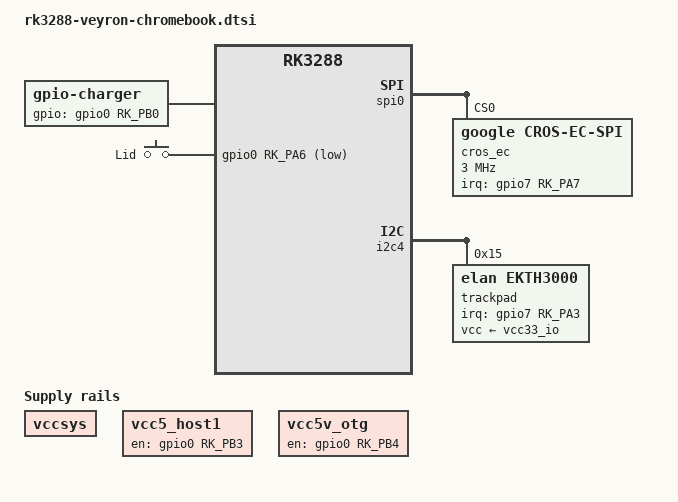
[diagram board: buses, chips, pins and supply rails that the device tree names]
// SPDX-License-Identifier: (GPL-2.0+ OR MIT)
/*
 * Google Veyron (and derivatives) board device tree source
 * Chromebook specific parts
 *
 * Copyright 2015 Google, Inc
 */

#include <dt-bindings/clock/rockchip,rk808.h>
#include <dt-bindings/input/input.h>
#include "rk3288-veyron.dtsi"
#include "rk3288-veyron-analog-audio.dtsi"
#include "rk3288-veyron-edp.dtsi"
#include "rk3288-veyron-sdmmc.dtsi"

/ {
	aliases {
		/* Assign 20 so we don't get confused w/ builtin ones */
		i2c20 = &i2c_tunnel;
	};

	gpio-charger {
		compatible = "gpio-charger";
		charger-type = "mains";
		gpios = <&gpio0 RK_PB0 GPIO_ACTIVE_HIGH>;
		pinctrl-names = "default";
		pinctrl-0 = <&ac_present_ap>;
	};

	lid_switch: lid-switch {
		compatible = "gpio-keys";
		pinctrl-names = "default";
		pinctrl-0 = <&ap_lid_int_l>;

		switch-lid {
			label = "Lid";
			gpios = <&gpio0 RK_PA6 GPIO_ACTIVE_LOW>;
			wakeup-source;
			linux,code = <SW_LID>;
			linux,input-type = <EV_SW>;
			debounce-interval = <1>;
		};
	};

	/* A non-regulated voltage from power supply or battery */
	vccsys: vccsys {
		compatible = "regulator-fixed";
		regulator-name = "vccsys";
		regulator-boot-on;
		regulator-always-on;
	};

	vcc33_sys: vcc33-sys {
		vin-supply = <&vccsys>;
	};

	vcc_5v: vcc-5v {
		vin-supply = <&vccsys>;
	};

	/* This turns on vbus for host1 (dwc2) */
	vcc5_host1: vcc5-host1-regulator {
		compatible = "regulator-fixed";
		enable-active-high;
		gpio = <&gpio0 RK_PB3 GPIO_ACTIVE_HIGH>;
		pinctrl-names = "default";
		pinctrl-0 = <&host1_pwr_en>;
		regulator-name = "vcc5_host1";
		regulator-always-on;
		regulator-boot-on;
	};

	/* This turns on vbus for otg for host mode (dwc2) */
	vcc5v_otg: vcc5v-otg-regulator {
		compatible = "regulator-fixed";
		enable-active-high;
		gpio = <&gpio0 RK_PB4 GPIO_ACTIVE_HIGH>;
		pinctrl-names = "default";
		pinctrl-0 = <&usbotg_pwren_h>;
		regulator-name = "vcc5_host2";
		regulator-always-on;
		regulator-boot-on;
	};
};

&rk808 {
	vcc11-supply = <&vcc_5v>;

	regulators {
		vcc33_ccd: LDO_REG8 {
			regulator-name = "vcc33_ccd";
			regulator-always-on;
			regulator-boot-on;
			regulator-min-microvolt = <3300000>;
			regulator-max-microvolt = <3300000>;
			regulator-state-mem {
				regulator-off-in-suspend;
			};
		};
	};
};

&spi0 {
	status = "okay";

	cros_ec: ec@0 {
		compatible = "google,cros-ec-spi";
		reg = <0>;
		google,cros-ec-spi-pre-delay = <30>;
		interrupt-parent = <&gpio7>;
		interrupts = <RK_PA7 IRQ_TYPE_LEVEL_LOW>;
		pinctrl-names = "default";
		pinctrl-0 = <&ec_int>;
		spi-max-frequency = <3000000>;

		i2c_tunnel: i2c-tunnel {
			compatible = "google,cros-ec-i2c-tunnel";
			google,remote-bus = <0>;
			#address-cells = <1>;
			#size-cells = <0>;
		};
	};
};

&i2c4 {
	trackpad@15 {
		compatible = "elan,ekth3000";
		reg = <0x15>;
		interrupt-parent = <&gpio7>;
		interrupts = <RK_PA3 IRQ_TYPE_EDGE_FALLING>;
		pinctrl-names = "default";
		pinctrl-0 = <&trackpad_int>;
		vcc-supply = <&vcc33_io>;
		wakeup-source;
	};
};

&pinctrl {
	buttons {
		ap_lid_int_l: ap-lid-int-l {
			rockchip,pins = <0 RK_PA6 RK_FUNC_GPIO &pcfg_pull_up>;
		};
	};

	charger {
		ac_present_ap: ac-present-ap {
			rockchip,pins = <0 RK_PB0 RK_FUNC_GPIO &pcfg_pull_up>;
		};
	};

	cros-ec {
		ec_int: ec-int {
			rockchip,pins = <7 RK_PA7 RK_FUNC_GPIO &pcfg_pull_none>;
		};
	};

	suspend {
		suspend_l_wake: suspend-l-wake {
			rockchip,pins = <0 RK_PC1 RK_FUNC_GPIO &pcfg_output_low>;
		};

		suspend_l_sleep: suspend-l-sleep {
			rockchip,pins = <0 RK_PC1 RK_FUNC_GPIO &pcfg_output_high>;
		};
	};

	trackpad {
		trackpad_int: trackpad-int {
			rockchip,pins = <7 RK_PA3 RK_FUNC_GPIO &pcfg_pull_up>;
		};
	};

	usb-host {
		host1_pwr_en: host1-pwr-en {
			rockchip,pins = <0 RK_PB3 RK_FUNC_GPIO &pcfg_pull_none>;
		};

		usbotg_pwren_h: usbotg-pwren-h {
			rockchip,pins = <0 RK_PB4 RK_FUNC_GPIO &pcfg_pull_none>;
		};
	};
};

#include "../cros-ec-keyboard.dtsi"
